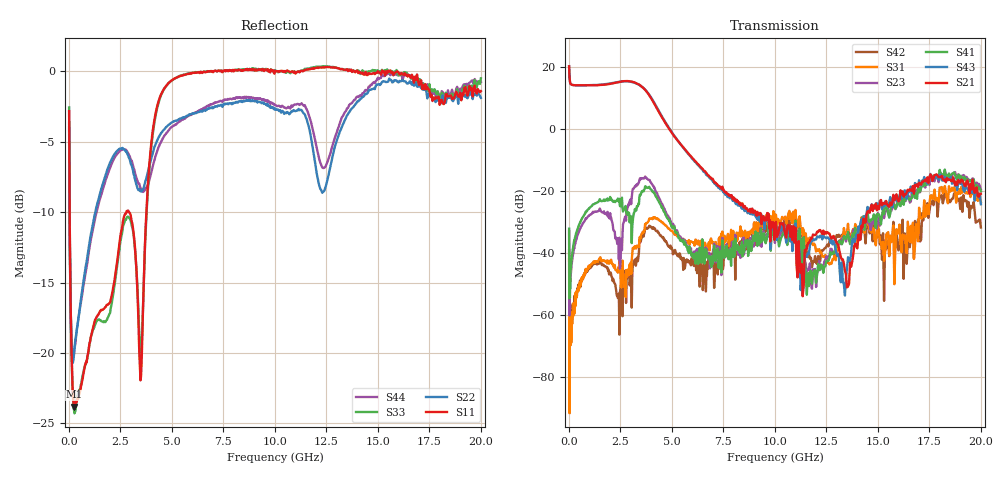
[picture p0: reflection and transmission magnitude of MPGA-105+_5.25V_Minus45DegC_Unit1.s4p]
!Mini-Circuits Laboratory
!S-Parameters
!Model: MPGA-105+
!Run / Lot / Date Code: NA / BP384P001-05 / 1348
!Fixture: NA; TB-561+
!AUTO PORT EXTENSION DONE: PORT<1>=113.35ps; PORT<2>=112.76ps; PORT<3>=112.16ps; PORT<4>=112.11ps
!Network Analyzer: PNA-X N5242A - 423 4 ports;  Serial number: 71256
!Date: 2/15/2014
!S/N: Unit# 1
!Correction: S11(Full 4 Port(1,2,3,4))
!S12(Full 4 Port(1,2,3,4))
!S13(Full 4 Port(1,2,3,4))
!S14(Full 4 Port(1,2,3,4))
!S21(Full 4 Port(1,2,3,4))
!S22(Full 4 Port(1,2,3,4))
!S23(Full 4 Port(1,2,3,4))
!S24(Full 4 Port(1,2,3,4))
!S31(Full 4 Port(1,2,3,4))
!S32(Full 4 Port(1,2,3,4))
!S33(Full 4 Port(1,2,3,4))
!S34(Full 4 Port(1,2,3,4))
!S41(Full 4 Port(1,2,3,4))
!S42(Full 4 Port(1,2,3,4))
!S43(Full 4 Port(1,2,3,4))
!S44(Full 4 Port(1,2,3,4))
!S4P File: Measurements: <S11,S12,S13,S14>,
!<S21,S22,S23,S24>,
!<S31,S32,S33,S34>,
!<S41,S42,S43,S44>:
# Hz S  dB  R 50
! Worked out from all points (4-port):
!   660 points, 10 MHz to 20 GHz, reference 50 ohm
!   strongest paths, dB at 10 MHz, 2.65 GHz, 6.775 GHz, 11.8 GHz, 20 GHz:
!     S21: 20.2, 15.3, -15.1, -35.3, -21.0
!     S43: 20.2, 15.3, -15.4, -36.3, -24.3
!     S41: -32.2, -26.2, -41.8, -50.0, -20.2
!     S23: -33.0, -30.3, -42.0, -51.6, -19.6
!     S31: -42.0, -49.8, -37.0, -36.8, -23.7
!     S42: -39.2, -48.7, -42.1, -44.7, -31.9
!   lowest |S11| = -23.8 dB at 260 MHz (marker M1), VSWR 1.14, Z = 44.4 - j2.49 ohm
!   |S11| at or under -10 dB: 36.05 MHz to 2.789 GHz (2.753 GHz wide, 195 % of centre); 2.921 GHz to 3.761 GHz (839.9 MHz wide, 25.1 % of centre)
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1e7  -2.82 -39.7  -22.25 47.8  -41.91 -33.8  -48.73 -8.8
     20.15 158.0  -3.98 -42.8  -33.03 -25.3  -39.49 -4.2
     -42.03 33.4  -49.33 -0.3  -2.55 -40.8  -22.43 47.5
     -32.23 28.9  -39.19 -5.4  20.19 159.1  -3.63 -43.6
2.6e8  -23.82 -154.3  -18.27 -10.8  -64.20 90.5  -73.81 25.7
       14.05 158.2  -19.71 165.9  -38.62 59.8  -59.18 75.7
       -59.73 75.9  -76.87 -72.6  -24.13 -154.0  -18.22 -11.3
       -35.91 60.2  -56.50 97.7  14.06 158.2  -19.95 170.1
1.525e9  -17.00 46.7  -19.92 -78.0  -42.43 65.2  -59.26 99.1
         14.09 77.3  -8.58 60.9  -26.12 -67.7  -42.87 41.1
         -41.47 40.9  -58.98 95.4  -17.67 46.8  -19.87 -79.4
         -23.09 -59.4  -42.53 19.2  14.21 76.5  -8.97 60.3
2.575e9  -11.15 -149.6  -25.17 -160.6  -40.49 35.0  -59.57 20.6
         15.24 -2.3  -5.48 -16.1  -39.21 -115.5  -45.46 0.2
         -46.09 6.6  -62.21 48.6  -11.54 -154.4  -25.13 -161.6
         -22.22 -153.6  -49.79 149.7  15.25 -5.3  -5.56 -20.0
3.25e9  -13.38 106.5  -26.14 -23.7  -54.47 142.9  -61.08 -128.4
        14.77 -71.5  -7.91 -95.0  -18.25 -119.0  -36.62 -157.8
        -38.63 145.0  -63.61 68.4  -13.40 107.9  -27.23 -26.9
        -26.46 -158.8  -44.21 152.6  14.66 -73.8  -7.44 -92.4
3.9e9  -6.66 162.6  -19.62 -116.3  -29.34 115.2  -43.58 122.1
       10.79 -144.6  -6.73 150.6  -16.51 124.6  -30.10 104.6
       -29.00 100.7  -45.73 105.8  -7.03 157.8  -19.75 -118.9
       -18.73 117.7  -31.32 106.5  10.97 -146.6  -7.73 154.7
2e10  -1.39 -85.2  -21.02 -126.4  -23.82 -11.8  -20.15 -170.7
      -20.97 -126.8  -1.87 -112.7  -19.56 -177.3  -31.95 -7.4
      -23.71 -11.6  -19.40 -178.3  -0.49 -122.1  -24.35 -110.6
      -20.18 -170.0  -31.86 -3.4  -24.35 -111.6  -0.76 -121.4
